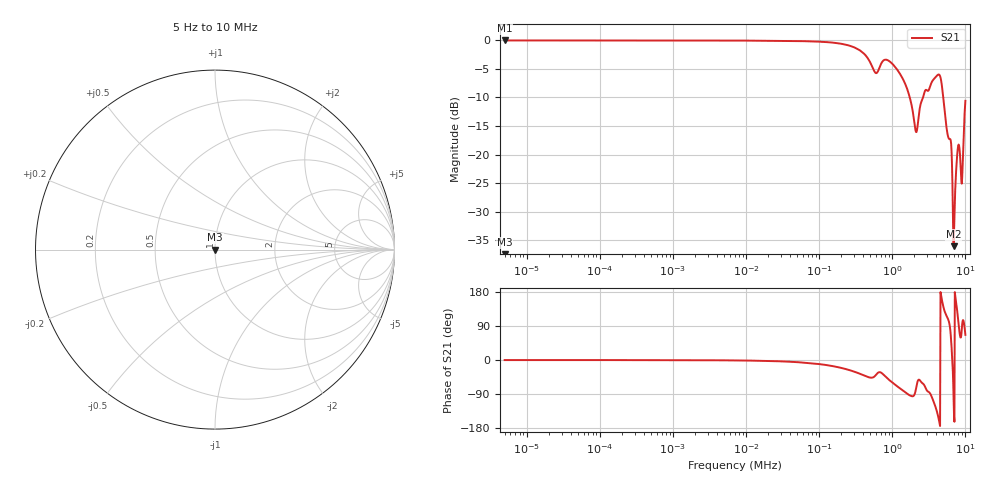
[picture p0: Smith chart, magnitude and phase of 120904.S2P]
!Agilent Technologies,E5061B,MY49204007,A.02.12
!Date: Fri Sep 12 10:11:27 2025
!Data & Calibration Information:
!Freq	S11:SOLT2(OFF)	S21:SOLT2(OFF)	S12:SOLT2(OFF)	S22:SOLT2(OFF)
# Hz S dB R 50
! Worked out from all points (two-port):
!   1041 points, 5 Hz to 10 MHz, reference 50 ohm
!   highest |S21| = -0.04 dB at 5 Hz (marker M1); lowest = -36.0 dB at 6.907 MHz (marker M2)
!   |S21| within 3 dB of the highest: start of sweep to 456.2 kHz
!   lowest |S11| = - dB at 5 Hz (marker M3), VSWR 1.00, Z = 50 + j0 ohm
!   |S11| at or under -10 dB: start of sweep to end of sweep
!   S12 and S22 are empty: the file has one direction only
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5  -200.00 0.0  -0.04 -0.2  -200.00 0.0  -200.00 0.0
56.522  -200.00 0.0  -0.04 -0.2  -200.00 0.0  -200.00 0.0
632.897  -200.00 0.0  -0.04 -0.3  -200.00 0.0  -200.00 0.0
7154.49  -200.00 0.0  -0.06 -1.1  -200.00 0.0  -200.00 0.0
80111.67  -200.00 0.0  -0.21 -8.8  -200.00 0.0  -200.00 0.0
201894.5  -200.00 0.0  -0.63 -21.0  -200.00 0.0  -200.00 0.0
398514.7  -200.00 0.0  -2.20 -39.7  -200.00 0.0  -200.00 0.0
542681.8  -200.00 0.0  -4.89 -46.1  -200.00 0.0  -200.00 0.0
657040.1  -200.00 0.0  -5.04 -32.4  -200.00 0.0  -200.00 0.0
893075.1  -200.00 0.0  -3.59 -51.5  -200.00 0.0  -200.00 0.0
1553743  -200.00 0.0  -8.09 -87.4  -200.00 0.0  -200.00 0.0
2108729  -200.00 0.0  -16.03 -76.6  -200.00 0.0  -200.00 0.0
2633916  -200.00 0.0  -10.01 -62.4  -200.00 0.0  -200.00 0.0
3636709  -200.00 0.0  -6.91 -107.4  -200.00 0.0  -200.00 0.0
4441770  -200.00 0.0  -6.11 -167.7  -200.00 0.0  -200.00 0.0
5074112  -200.00 0.0  -11.04 135.6  -200.00 0.0  -200.00 0.0
6122175  -200.00 0.0  -17.28 89.3  -200.00 0.0  -200.00 0.0
6906588  -200.00 0.0  -36.01 -111.8  -200.00 0.0  -200.00 0.0
7168058  -200.00 0.0  -28.05 179.2  -200.00 0.0  -200.00 0.0
7957789  -200.00 0.0  -18.49 107.0  -200.00 0.0  -200.00 0.0
9038960  -200.00 0.0  -24.06 94.3  -200.00 0.0  -200.00 0.0
1e7  -200.00 0.0  -10.60 66.3  -200.00 0.0  -200.00 0.0
